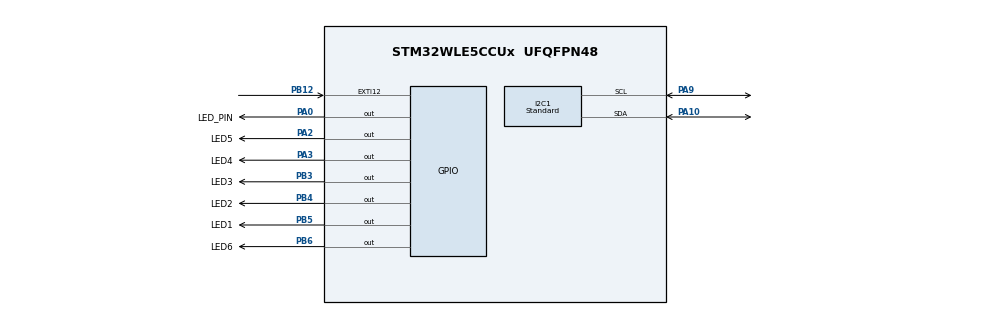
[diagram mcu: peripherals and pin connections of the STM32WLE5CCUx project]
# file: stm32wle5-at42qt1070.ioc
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I2C1.I2C_Speed_Mode=I2C_Standard
I2C1.Speed=50
I2C1.Timing=0x20303EFD
Mcu.Family=STM32WL
Mcu.Name=STM32WLE5CCUx
Mcu.Package=UFQFPN48
NVIC.EXTI15_10_IRQn=true\:0\:0\:false\:false\:true\:false\:true\:true\:true
NVIC.I2C1_ER_IRQn=true\:0\:0\:false\:false\:true\:false\:true\:true\:true
NVIC.I2C1_EV_IRQn=true\:0\:0\:false\:false\:true\:false\:true\:true\:true
NVIC.PriorityGroup=NVIC_PRIORITYGROUP_4
NVIC.TIM17_IRQn=true\:15\:0\:false\:false\:true\:false\:false\:true\:true
NVIC.TimeBase=TIM17_IRQn
NVIC.TimeBaseIP=TIM17
PA0.GPIO_Label=LED_PIN
PA0.Signal=GPIO_Output
PA10.Mode=I2C
PA10.Signal=I2C1_SDA
PA13.Mode=Serial_Wire
PA13.Signal=DEBUG_JTMS-SWDIO
PA14.Mode=Serial_Wire
PA14.Signal=DEBUG_JTCK-SWCLK
PA2.GPIO_Label=LED5
PA2.Signal=GPIO_Output
PA3.GPIO_Label=LED4
PA3.Signal=GPIO_Output
PA9.Mode=I2C
PA9.Signal=I2C1_SCL
PB12.GPIO_ModeDefaultEXTI=GPIO_MODE_IT_RISING_FALLING
PB12.Signal=GPXTI12
PB3.GPIO_Label=LED3
PB3.Signal=GPIO_Output
PB4.GPIO_Label=LED2
PB4.Signal=GPIO_Output
PB5.GPIO_Label=LED1
PB5.Signal=GPIO_Output
PB6.GPIO_Label=LED6
PB6.Signal=GPIO_Output
ProjectManager.HeapSize=0x200
ProjectManager.StackSize=0x400
ProjectManager.TargetToolchain=STM32CubeIDE
RCC.AHBFreq_Value=48000000
RCC.APB1Freq_Value=48000000
RCC.APB1TimFreq_Value=48000000
RCC.APB2Freq_Value=48000000
RCC.APB2TimFreq_Value=48000000
RCC.APB3Freq_Value=48000000
RCC.CortexFreq_Value=48000000
RCC.HCLKFreq_Value=48000000
RCC.HSE_VALUE=8000000
RCC.HSI_VALUE=16000000
RCC.LSE_VALUE=32768
RCC.MSIClockRange=RCC_MSIRANGE_11
RCC.SYSCLKFreq_VALUE=48000000
RCC.VCOOutputFreq_Value=384000000
STMicroelectronics.X-CUBE-AZRTOS-WL.2.0.0.ThreadXCcRTOSJjThreadXJjCore=true
STMicroelectronics.X-CUBE-AZRTOS-WL.2.0.0.ThreadXCcRTOSJjThreadXJjLowOoPowerOosupport=true
STMicroelectronics.X-CUBE-AZRTOS-WL.2.0.0.ThreadXCcRTOSJjThreadXJjPerformanceInfo=true
STMicroelectronics.X-CUBE-AZRTOS-WL.2.0.0.ThreadXCcRTOSJjThreadXJjTraceXOosupport=true
STMicroelectronics.X-CUBE-AZRTOS-WL.2.0.0_IsAnAzureRtosMw=true
VP_STMicroelectronics.X-CUBE-AZRTOS-WL_VS_RTOSJjThreadX_6.2.0_2.0.0.Mode=RTOSJjThreadX
VP_SYS_VS_tim17.Mode=TIM17
board=custom

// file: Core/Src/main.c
/* USER CODE BEGIN Header */
/**
  ******************************************************************************
  * @file           : main.c
  * @brief          : Main program body
  ******************************************************************************
  * @attention
  *
  * Copyright (c) 2024 STMicroelectronics.
  * All rights reserved.
  *
  * This software is licensed under terms that can be found in the LICENSE file
  * in the root directory of this software component.
  * If no LICENSE file comes with this software, it is provided AS-IS.
  *
  ******************************************************************************
  */
/* USER CODE END Header */
#include "app_threadx.h"
#include "main.h"

I2C_HandleTypeDef hi2c1;

void SystemClock_Config(void);
static void MX_GPIO_Init(void);
static void MX_I2C1_Init(void);

/* USER CODE BEGIN 0 */
uint32_t led_array[MAIN_LED_COUNT][2] =
{
	{LED1_Pin,GPIOB},
	{LED2_Pin,GPIOB},
	{LED3_Pin,GPIOB},
	{LED4_Pin,GPIOA},
	{LED5_Pin,GPIOA},
	{LED6_Pin,GPIOB}
};
/* USER CODE END 0 */

int main(void)
{

  /* MCU Configuration--------------------------------------------------------*/

  /* Reset of all peripherals, Initializes the Flash interface and the Systick. */
  HAL_Init();

  /* Configure the system clock */
  SystemClock_Config();

  /* Initialize all configured peripherals */
  MX_GPIO_Init();
  MX_I2C1_Init();
  /* USER CODE BEGIN 2 */
  at42qt1070_init(main_i2c_transmit,
		  	  	  main_i2c_receive,
				  main_change_pin_read,
				  HAL_GetTick);

  /* USER CODE END 2 */

  MX_ThreadX_Init();

  /* We should never get here as control is now taken by the scheduler */
  /* Infinite loop */
  while (1)
  {

  }
}

void SystemClock_Config(void)
{
  RCC_OscInitTypeDef RCC_OscInitStruct = {0};
  RCC_ClkInitTypeDef RCC_ClkInitStruct = {0};

  /** Configure the main internal regulator output voltage
  */
  __HAL_PWR_VOLTAGESCALING_CONFIG(PWR_REGULATOR_VOLTAGE_SCALE1);

  /** Initializes the CPU, AHB and APB buses clocks
  */
  RCC_OscInitStruct.OscillatorType = RCC_OSCILLATORTYPE_MSI;
  RCC_OscInitStruct.MSIState = RCC_MSI_ON;
  RCC_OscInitStruct.MSICalibrationValue = RCC_MSICALIBRATION_DEFAULT;
  RCC_OscInitStruct.MSIClockRange = RCC_MSIRANGE_11;
  RCC_OscInitStruct.PLL.PLLState = RCC_PLL_NONE;
  if (HAL_RCC_OscConfig(&RCC_OscInitStruct) != HAL_OK)
  {
    Error_Handler();
  }

  /** Configure the SYSCLKSource, HCLK, PCLK1 and PCLK2 clocks dividers
  */
  RCC_ClkInitStruct.ClockType = RCC_CLOCKTYPE_HCLK3|RCC_CLOCKTYPE_HCLK
                              |RCC_CLOCKTYPE_SYSCLK|RCC_CLOCKTYPE_PCLK1
                              |RCC_CLOCKTYPE_PCLK2;
  RCC_ClkInitStruct.SYSCLKSource = RCC_SYSCLKSOURCE_MSI;
  RCC_ClkInitStruct.AHBCLKDivider = RCC_SYSCLK_DIV1;
  RCC_ClkInitStruct.APB1CLKDivider = RCC_HCLK_DIV1;
  RCC_ClkInitStruct.APB2CLKDivider = RCC_HCLK_DIV1;
  RCC_ClkInitStruct.AHBCLK3Divider = RCC_SYSCLK_DIV1;

  if (HAL_RCC_ClockConfig(&RCC_ClkInitStruct, FLASH_LATENCY_2) != HAL_OK)
  {
    Error_Handler();
  }
}

static void MX_I2C1_Init(void)
{

  hi2c1.Instance = I2C1;
  hi2c1.Init.Timing = 0x20303EFD;
  hi2c1.Init.OwnAddress1 = 0;
  hi2c1.Init.AddressingMode = I2C_ADDRESSINGMODE_7BIT;
  hi2c1.Init.DualAddressMode = I2C_DUALADDRESS_DISABLE;
  hi2c1.Init.OwnAddress2 = 0;
  hi2c1.Init.OwnAddress2Masks = I2C_OA2_NOMASK;
  hi2c1.Init.GeneralCallMode = I2C_GENERALCALL_DISABLE;
  hi2c1.Init.NoStretchMode = I2C_NOSTRETCH_DISABLE;
  if (HAL_I2C_Init(&hi2c1) != HAL_OK)
  {
    Error_Handler();
  }

  /** Configure Analogue filter
  */
  if (HAL_I2CEx_ConfigAnalogFilter(&hi2c1, I2C_ANALOGFILTER_ENABLE) != HAL_OK)
  {
    Error_Handler();
  }

  /** Configure Digital filter
  */
  if (HAL_I2CEx_ConfigDigitalFilter(&hi2c1, 0) != HAL_OK)
  {
    Error_Handler();
  }

}

static void MX_GPIO_Init(void)
{
  GPIO_InitTypeDef GPIO_InitStruct = {0};

  /* GPIO Ports Clock Enable */
  __HAL_RCC_GPIOB_CLK_ENABLE();
  __HAL_RCC_GPIOA_CLK_ENABLE();

  /*Configure GPIO pin Output Level */
  HAL_GPIO_WritePin(GPIOB, LED3_Pin|LED2_Pin|LED1_Pin|LED6_Pin, GPIO_PIN_RESET);

  /*Configure GPIO pin Output Level */
  HAL_GPIO_WritePin(GPIOA, LED_PIN_Pin|LED5_Pin|LED4_Pin, GPIO_PIN_RESET);

  /*Configure GPIO pins : LED3_Pin LED2_Pin LED1_Pin LED6_Pin */
  GPIO_InitStruct.Pin = LED3_Pin|LED2_Pin|LED1_Pin|LED6_Pin;
  GPIO_InitStruct.Mode = GPIO_MODE_OUTPUT_PP;
  GPIO_InitStruct.Pull = GPIO_NOPULL;
  GPIO_InitStruct.Speed = GPIO_SPEED_FREQ_LOW;
  HAL_GPIO_Init(GPIOB, &GPIO_InitStruct);

  /*Configure GPIO pins : LED_PIN_Pin LED5_Pin LED4_Pin */
  GPIO_InitStruct.Pin = LED_PIN_Pin|LED5_Pin|LED4_Pin;
  GPIO_InitStruct.Mode = GPIO_MODE_OUTPUT_PP;
  GPIO_InitStruct.Pull = GPIO_NOPULL;
  GPIO_InitStruct.Speed = GPIO_SPEED_FREQ_LOW;
  HAL_GPIO_Init(GPIOA, &GPIO_InitStruct);

  /*Configure GPIO pin : PB12 */
  GPIO_InitStruct.Pin = GPIO_PIN_12;
  GPIO_InitStruct.Mode = GPIO_MODE_IT_RISING_FALLING;
  GPIO_InitStruct.Pull = GPIO_NOPULL;
  HAL_GPIO_Init(GPIOB, &GPIO_InitStruct);

  /* EXTI interrupt init*/
  HAL_NVIC_SetPriority(EXTI15_10_IRQn, 0, 0);
  HAL_NVIC_EnableIRQ(EXTI15_10_IRQn);

}

/* USER CODE BEGIN 4 */
uint8_t main_key_status_read(void)
{
	uint8_t key_status = 0;

	if(at42qt1070_callback())
	{
		key_status = at42qt1070_key_stete_get();
	}

	return key_status;
}

HAL_StatusTypeDef main_i2c_transmit(uint16_t slave_address, uint8_t *data_buffer, uint16_t size)
{
	return HAL_I2C_Master_Transmit(&hi2c1, slave_address, data_buffer, size, 1000);
}

HAL_StatusTypeDef main_i2c_receive(uint16_t slave_address, uint8_t *data_buffer, uint16_t size)
{
	return HAL_I2C_Master_Receive(&hi2c1, slave_address, data_buffer, size, 1000);
}

GPIO_PinState main_change_pin_read(void)
{
	return HAL_GPIO_ReadPin(GPIOB, GPIO_PIN_12);
}

void main_interrupt_callback(void)
{
	tx_semaphore_put(&external_gpio_semaphore);
}

void main_led_control(uint8_t pin_number)
{
	static uint8_t gpio_state[MAIN_LED_COUNT] = {0};

	gpio_state[pin_number] ^= 1;

	HAL_GPIO_WritePin(led_array[pin_number][1], led_array[pin_number][0],  gpio_state[pin_number]);
}

uint8_t main_bit_2_order(uint8_t bit_value)
{
	uint8_t shift_count = 0;
	while(bit_value != 1)
	{
		++shift_count;
		bit_value = bit_value >> 1;
	}
	return shift_count;
}
/* USER CODE END 4 */

void HAL_TIM_PeriodElapsedCallback(TIM_HandleTypeDef *htim)
{
  if (htim->Instance == TIM17) {
    HAL_IncTick();
  }
}

void Error_Handler(void)
{
  __disable_irq();
  while (1)
  {
  }
}
